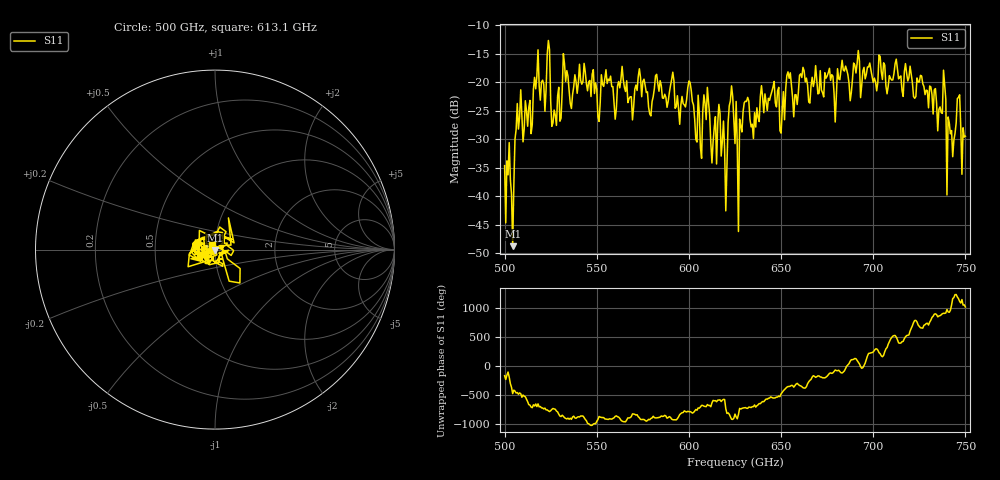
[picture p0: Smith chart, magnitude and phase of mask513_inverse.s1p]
!Created with skrf (http://scikit-rf.org).
# GHz S MA R 50.0
!freq magS11 angS11
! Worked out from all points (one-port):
!   401 points, 500 GHz to 750 GHz, reference 50 ohm
!   lowest |S11| = -48.8 dB at 504.4 GHz (marker M1), VSWR 1.01, Z = 49.8 - j0.325 ohm
!   |S11| at or under -10 dB: start of sweep to end of sweep
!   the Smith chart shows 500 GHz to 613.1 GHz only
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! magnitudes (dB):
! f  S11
! 500 GHz  -34.7
! 504.4 GHz  -48.8
! 507.5 GHz  -28.2
! 513.8 GHz  -23.2
! 516.9 GHz  -21.2
! 523.8 GHz  -12.7
! 526.9 GHz  -24.9
! 531.2 GHz  -21.5
! 562.5 GHz  -21.0
! 579.4 GHz  -25.9
! 590.6 GHz  -19.5
! 593.8 GHz  -22.4
! 600.6 GHz  -20.0
! 605.6 GHz  -25.5
! 609.4 GHz  -26.6
! 619.4 GHz  -31.8
! 622.5 GHz  -23.3
! 625 GHz  -30.8
! 627.5 GHz  -26.5
! 631.2 GHz  -23.4
! 635 GHz  -29.9
! 656.2 GHz  -22.8
! 687.5 GHz  -23.3
! 718.8 GHz  -19.8
! 738.1 GHz  -17.9
! 741.2 GHz  -27.2
! 746.2 GHz  -22.7
! 750 GHz  -29.5
